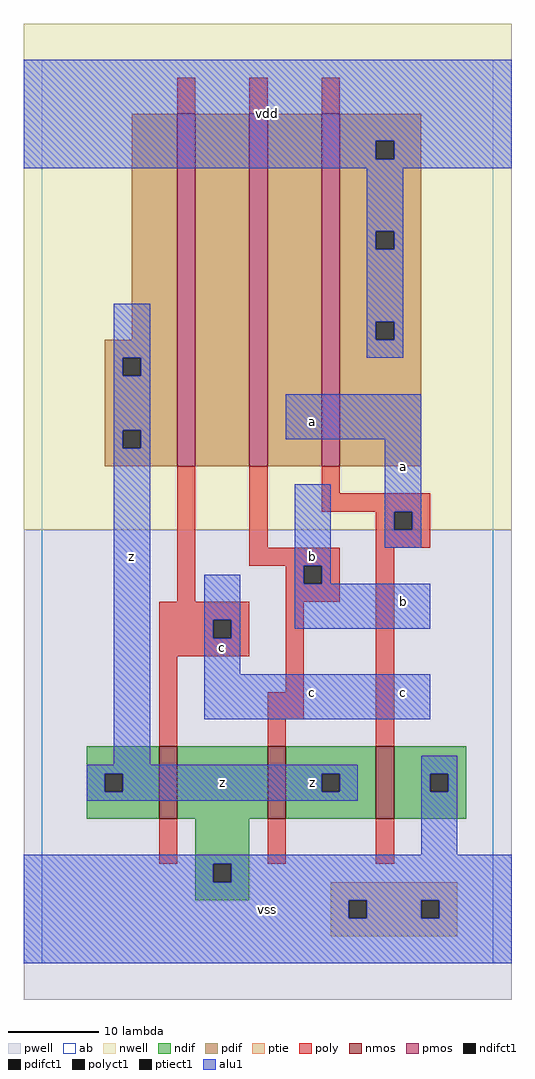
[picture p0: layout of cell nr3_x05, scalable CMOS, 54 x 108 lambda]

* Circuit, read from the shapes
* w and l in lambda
.subckt nr3_x05 a b c vdd vss z
M1 vss c z vss nfet w=8 l=2
M2 z b vss vss nfet w=8 l=2
M3 vss a z vss nfet w=8 l=2
M4 n1 c z n2 pfet w=39 l=2
M5 n3 b n1 n2 pfet w=39 l=2
M6 vdd a n3 n2 pfet w=39 l=2
.ends

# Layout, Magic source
magic
tech scmos
<< ab >>
rect 0 0 50 100
<< nwell >>
rect -2 48 52 104
<< pwell >>
rect -2 -4 52 48
<< poly >>
rect 15 94 17 98
rect 23 94 25 98
rect 31 94 33 98
rect 15 40 17 55
rect 23 46 25 55
rect 31 52 33 55
rect 31 50 43 52
rect 37 48 39 50
rect 41 48 43 50
rect 37 46 43 48
rect 23 44 33 46
rect 27 42 29 44
rect 31 42 33 44
rect 27 40 33 42
rect 13 38 23 40
rect 13 36 19 38
rect 21 36 23 38
rect 13 34 23 36
rect 13 24 15 34
rect 27 30 29 40
rect 25 27 29 30
rect 25 24 27 27
rect 37 24 39 46
rect 13 11 15 16
rect 25 11 27 16
rect 37 11 39 16
<< ndif >>
rect 5 21 13 24
rect 5 19 7 21
rect 9 19 13 21
rect 5 16 13 19
rect 15 16 25 24
rect 27 21 37 24
rect 27 19 31 21
rect 33 19 37 21
rect 27 16 37 19
rect 39 21 47 24
rect 39 19 43 21
rect 45 19 47 21
rect 39 16 47 19
rect 17 11 23 16
rect 17 9 19 11
rect 21 9 23 11
rect 17 7 23 9
<< pdif >>
rect 10 69 15 94
rect 7 67 15 69
rect 7 65 9 67
rect 11 65 15 67
rect 7 59 15 65
rect 7 57 9 59
rect 11 57 15 59
rect 7 55 15 57
rect 17 55 23 94
rect 25 55 31 94
rect 33 91 42 94
rect 33 89 37 91
rect 39 89 42 91
rect 33 81 42 89
rect 33 79 37 81
rect 39 79 42 81
rect 33 71 42 79
rect 33 69 37 71
rect 39 69 42 71
rect 33 55 42 69
<< alu1 >>
rect -2 91 52 100
rect -2 89 37 91
rect 39 89 52 91
rect -2 88 52 89
rect 36 81 40 88
rect 36 79 37 81
rect 39 79 40 81
rect 8 67 12 73
rect 36 71 40 79
rect 36 69 37 71
rect 39 69 40 71
rect 36 67 40 69
rect 8 65 9 67
rect 11 65 12 67
rect 8 59 12 65
rect 8 57 9 59
rect 11 57 12 59
rect 27 58 42 63
rect 8 22 12 57
rect 28 44 32 53
rect 38 50 42 58
rect 38 48 39 50
rect 41 48 42 50
rect 38 46 42 48
rect 18 38 22 43
rect 18 36 19 38
rect 21 36 22 38
rect 28 42 29 44
rect 31 42 32 44
rect 28 37 43 42
rect 18 32 22 36
rect 18 27 43 32
rect 5 21 35 22
rect 5 19 7 21
rect 9 19 31 21
rect 33 19 35 21
rect 5 18 35 19
rect 42 21 46 23
rect 42 19 43 21
rect 45 19 46 21
rect 42 12 46 19
rect -2 11 52 12
rect -2 9 19 11
rect 21 9 52 11
rect -2 7 52 9
rect -2 5 34 7
rect 36 5 42 7
rect 44 5 52 7
rect -2 0 52 5
<< ptie >>
rect 32 7 46 9
rect 32 5 34 7
rect 36 5 42 7
rect 44 5 46 7
rect 32 3 46 5
<< nmos >>
rect 13 16 15 24
rect 25 16 27 24
rect 37 16 39 24
<< pmos >>
rect 15 55 17 94
rect 23 55 25 94
rect 31 55 33 94
<< polyct1 >>
rect 39 48 41 50
rect 29 42 31 44
rect 19 36 21 38
<< ndifct1 >>
rect 7 19 9 21
rect 31 19 33 21
rect 43 19 45 21
rect 19 9 21 11
<< ptiect1 >>
rect 34 5 36 7
rect 42 5 44 7
<< pdifct1 >>
rect 9 65 11 67
rect 9 57 11 59
rect 37 89 39 91
rect 37 79 39 81
rect 37 69 39 71
<< labels >>
rlabel alu1 20 20 20 20 6 z
rlabel alu1 10 45 10 45 6 z
rlabel alu1 20 35 20 35 6 c
rlabel alu1 25 6 25 6 6 vss
rlabel alu1 30 20 30 20 6 z
rlabel alu1 30 45 30 45 6 b
rlabel alu1 30 30 30 30 6 c
rlabel alu1 30 60 30 60 6 a
rlabel alu1 25 94 25 94 6 vdd
rlabel alu1 40 40 40 40 6 b
rlabel alu1 40 30 40 30 6 c
rlabel alu1 40 55 40 55 6 a
<< end >>
